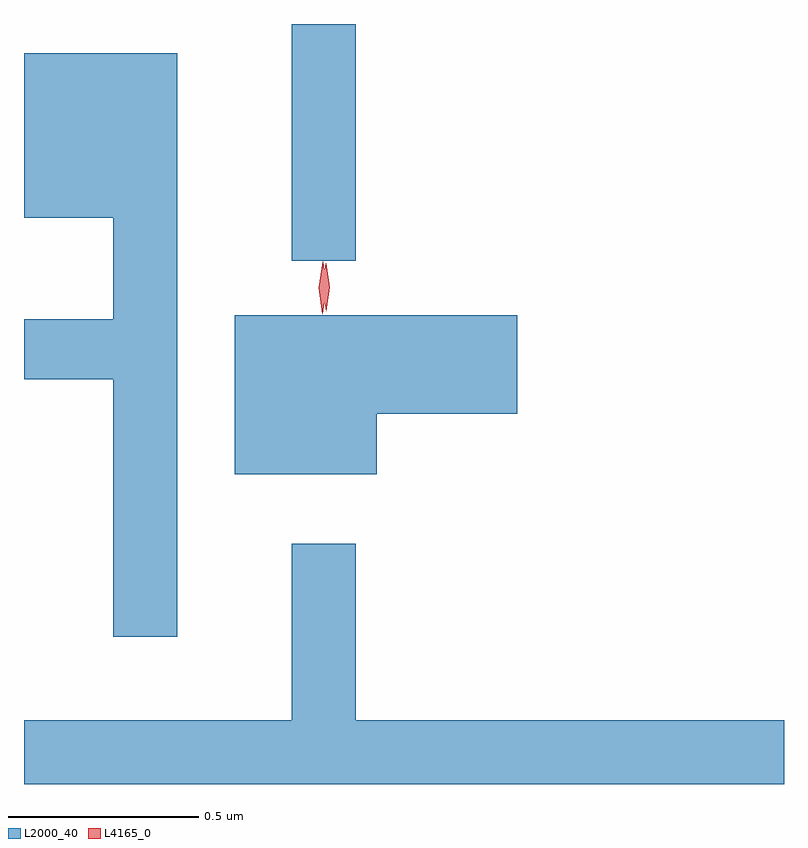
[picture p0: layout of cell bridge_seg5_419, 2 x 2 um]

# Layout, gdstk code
import gdstk
lib = gdstk.Library(unit=1e-6, precision=1e-09)
def R(c, l, rs):  # rectangles x0, y0, x1, y1
    for r in rs: c.add(gdstk.rectangle(r[:2], r[2:], *l))
def P(c, l, *ps):  # polygons
    for p in ps: c.add(gdstk.Polygon(p, *l))
L2000_40 = (2000, 40)
L4165_0 = (4165, 0)

bridge_seg5_419 = lib.new_cell('bridge_seg5_419')
R(bridge_seg5_419, L2000_40, [(460.211,1482.693,460.379,1483.316)])
P(bridge_seg5_419, L2000_40, [(459.909,1483.239),(459.506,1483.239),(459.506,1482.806),(459.741,1482.806),(459.741,1482.539),(459.506,1482.539),(459.506,1482.381),(459.741,1482.381),(459.741,1481.703),(459.909,1481.703)],
  [(460.434,1482.291),(460.804,1482.291),(460.804,1482.549),(460.061,1482.549),(460.061,1482.131),(460.434,1482.131)],
  [(461.506,1481.484),(460.379,1481.484),(460.379,1481.948),(460.211,1481.948),(460.211,1481.484),(459.506,1481.484),(459.506,1481.316),(461.506,1481.316)])
P(bridge_seg5_419, L4165_0, [(460.291,1482.554),(460.291,1482.554),(460.282,1482.622),(460.292,1482.69),(460.293,1482.69),(460.293,1482.69),(460.302,1482.622),(460.292,1482.554)],
  [(460.301,1482.56),(460.301,1482.56),(460.291,1482.623),(460.3,1482.686),(460.301,1482.687),(460.301,1482.686),(460.311,1482.623),(460.302,1482.56)])

lib.write_gds('bridge_seg5_419.gds')
